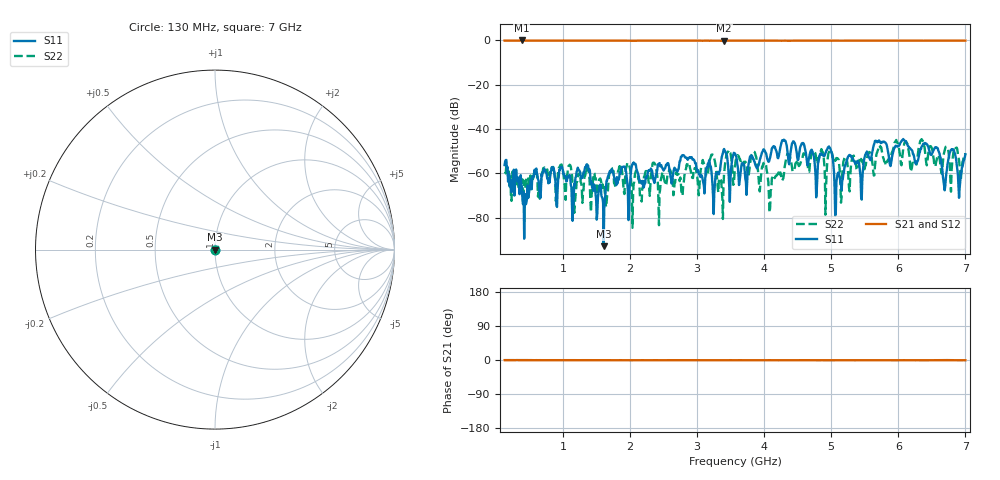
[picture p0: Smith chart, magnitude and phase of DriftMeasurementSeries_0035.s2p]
# Hz S RI R 50.000000
! Metas.Vna.Tools, 2.8.8664.20301
! Metas.Vna.Data, 2.8.8664.20285
! Created: UTC 2024.02.11 10:08:17
! FREQ  re:S1,1  im:S1,1  re:S2,1  im:S2,1  re:S1,2  im:S1,2  re:S2,2  im:S2,2
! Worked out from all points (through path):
!   801 points, 130 MHz to 7 GHz, reference 50 ohm
!   highest |S21| = 0.00 dB at 387.6 MHz (marker M1); lowest = -0.2 dB at 3.402 GHz (marker M2)
!   lowest |S11| = -92.9 dB at 1.607 GHz (marker M3), VSWR 1.00, Z = 50 + j0.002 ohm
!   |S11| at or under -10 dB: start of sweep to end of sweep
!   |S22| runs from -84.6 to -44.5 dB; largest |S21 - S12| = 0.016
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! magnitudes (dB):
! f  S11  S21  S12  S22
! 130 MHz  -56.2  0.0  0.0  -60.0
! 387.6 MHz  -66.0  0.0  0.0  -65.0
! 1.281 GHz  -61.7  0.0  0.0  -66.7
! 1.607 GHz  -92.9  -0.1  0.0  -66.1
! 1.71 GHz  -59.6  -0.1  0.0  -58.0
! 2.423 GHz  -56.1  -0.1  0.0  -71.6
! 3.256 GHz  -68.9  -0.1  0.0  -53.2
! 3.402 GHz  -49.0  -0.2  0.0  -60.2
! 3.462 GHz  -56.4  -0.1  0.0  -50.2
! 3.565 GHz  -51.0  -0.1  0.0  -56.9
! 3.848 GHz  -54.4  0.0  0.0  -50.2
! 4.089 GHz  -52.9  0.0  0.0  -75.5
! 4.716 GHz  -49.8  -0.1  0.0  -50.3
! 4.982 GHz  -48.5  -0.1  0.0  -49.6
! 5.085 GHz  -62.3  -0.1  0.0  -53.4
! 5.265 GHz  -51.8  -0.1  0.0  -66.5
! 5.858 GHz  -52.1  -0.1  0.0  -53.2
! 6.407 GHz  -46.5  -0.1  0.0  -52.4
! 6.691 GHz  -67.6  -0.1  0.0  -49.7
! 6.794 GHz  -49.2  -0.1  0.0  -58.9
! 6.914 GHz  -66.7  -0.1  0.0  -56.9
! 7 GHz  -51.4  -0.1  0.0  -51.0
